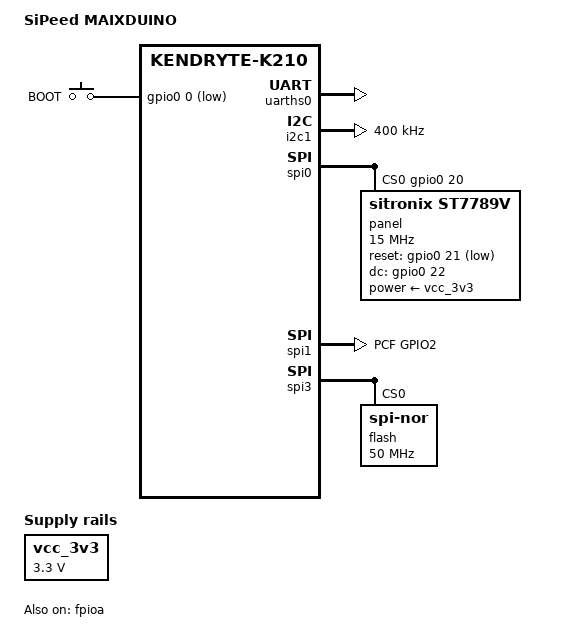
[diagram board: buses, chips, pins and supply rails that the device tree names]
// SPDX-License-Identifier: GPL-2.0+
/*
 * Copyright (C) 2019-20 Sean Anderson <seanga2@gmail.com>
 * Copyright (C) 2020 Western Digital Corporation or its affiliates.
 */

/dts-v1/;

#include "k210.dtsi"

#include <dt-bindings/gpio/gpio.h>
#include <dt-bindings/input/input.h>

/ {
	model = "SiPeed MAIXDUINO";
	compatible = "sipeed,maixduino", "canaan,kendryte-k210";

	chosen {
		bootargs = "earlycon console=ttySIF0";
		stdout-path = "serial0:115200n8";
	};

	gpio-keys {
		compatible = "gpio-keys";

		boot {
			label = "BOOT";
			linux,code = <BTN_0>;
			gpios = <&gpio0 0 GPIO_ACTIVE_LOW>;
		};
	};

	vcc_3v3: regulator-3v3 {
		compatible = "regulator-fixed";
		regulator-name = "3v3";
		regulator-min-microvolt = <3300000>;
		regulator-max-microvolt = <3300000>;
	};
};

&fpioa {
	status = "okay";

	uarths_pinctrl: uarths-pinmux {
		pinmux = <K210_FPIOA(4, K210_PCF_UARTHS_RX)>, /* Header "0" */
			 <K210_FPIOA(5, K210_PCF_UARTHS_TX)>; /* Header "1" */
	};

	gpio_pinctrl: gpio-pinmux {
		pinmux = <K210_FPIOA(8, K210_PCF_GPIO0)>,
			 <K210_FPIOA(9, K210_PCF_GPIO1)>;
	};

	gpiohs_pinctrl: gpiohs-pinmux {
		pinmux = <K210_FPIOA(16, K210_PCF_GPIOHS0)>,  /* BOOT */
			 <K210_FPIOA(21, K210_PCF_GPIOHS2)>,  /* Header "2" */
			 <K210_FPIOA(22, K210_PCF_GPIOHS3)>,  /* Header "3" */
			 <K210_FPIOA(23, K210_PCF_GPIOHS4)>,  /* Header "4" */
			 <K210_FPIOA(24, K210_PCF_GPIOHS5)>,  /* Header "5" */
			 <K210_FPIOA(32, K210_PCF_GPIOHS6)>,  /* Header "6" */
			 <K210_FPIOA(15, K210_PCF_GPIOHS7)>,  /* Header "7" */
			 <K210_FPIOA(14, K210_PCF_GPIOHS8)>,  /* Header "8" */
			 <K210_FPIOA(13, K210_PCF_GPIOHS9)>,  /* Header "9" */
			 <K210_FPIOA(12, K210_PCF_GPIOHS10)>, /* Header "10" */
			 <K210_FPIOA(11, K210_PCF_GPIOHS11)>, /* Header "11" */
			 <K210_FPIOA(10, K210_PCF_GPIOHS12)>, /* Header "12" */
			 <K210_FPIOA(3,  K210_PCF_GPIOHS13)>; /* Header "13" */
	};

	i2s0_pinctrl: i2s0-pinmux {
		pinmux = <K210_FPIOA(18, K210_PCF_I2S0_SCLK)>,
			 <K210_FPIOA(19, K210_PCF_I2S0_WS)>,
			 <K210_FPIOA(20, K210_PCF_I2S0_IN_D0)>;
	};

	spi1_pinctrl: spi1-pinmux {
		pinmux = <K210_FPIOA(26, K210_PCF_SPI1_D1)>,
			 <K210_FPIOA(27, K210_PCF_SPI1_SCLK)>,
			 <K210_FPIOA(28, K210_PCF_SPI1_D0)>,
			 <K210_FPIOA(29, K210_PCF_GPIO2)>; /* cs */
	};

	i2c1_pinctrl: i2c1-pinmux {
		pinmux = <K210_FPIOA(30, K210_PCF_I2C1_SCLK)>, /* Header "scl" */
			 <K210_FPIOA(31, K210_PCF_I2C1_SDA)>;  /* Header "sda" */
	};

	i2s1_pinctrl: i2s1-pinmux {
		pinmux = <K210_FPIOA(33, K210_PCF_I2S1_WS)>,
			 <K210_FPIOA(34, K210_PCF_I2S1_IN_D0)>,
			 <K210_FPIOA(35, K210_PCF_I2S1_SCLK)>;
	};

	spi0_pinctrl: spi0-pinmux {
		pinmux = <K210_FPIOA(36, K210_PCF_GPIOHS20)>,  /* cs */
			 <K210_FPIOA(37, K210_PCF_GPIOHS21)>,  /* rst */
			 <K210_FPIOA(38, K210_PCF_GPIOHS22)>,  /* dc */
			 <K210_FPIOA(39, K210_PCF_SPI0_SCLK)>; /* wr */
	};

	dvp_pinctrl: dvp-pinmux {
		pinmux = <K210_FPIOA(40, K210_PCF_SCCB_SDA)>,
			 <K210_FPIOA(41, K210_PCF_SCCB_SCLK)>,
			 <K210_FPIOA(42, K210_PCF_DVP_RST)>,
			 <K210_FPIOA(43, K210_PCF_DVP_VSYNC)>,
			 <K210_FPIOA(44, K210_PCF_DVP_PWDN)>,
			 <K210_FPIOA(45, K210_PCF_DVP_HSYNC)>,
			 <K210_FPIOA(46, K210_PCF_DVP_XCLK)>,
			 <K210_FPIOA(47, K210_PCF_DVP_PCLK)>;
	};
};

&uarths0 {
	pinctrl-0 = <&uarths_pinctrl>;
	pinctrl-names = "default";
	status = "okay";
};

&gpio0 {
	pinctrl-0 = <&gpiohs_pinctrl>;
	pinctrl-names = "default";
	status = "okay";
};

&gpio1 {
	pinctrl-0 = <&gpio_pinctrl>;
	pinctrl-names = "default";
	status = "okay";
};

&i2s0 {
	#sound-dai-cells = <1>;
	pinctrl-0 = <&i2s0_pinctrl>;
	pinctrl-names = "default";
};

&i2c1 {
	pinctrl-0 = <&i2c1_pinctrl>;
	pinctrl-names = "default";
	clock-frequency = <400000>;
	status = "okay";
};

&spi0 {
	pinctrl-0 = <&spi0_pinctrl>;
	pinctrl-names = "default";
	num-cs = <1>;
	cs-gpios = <&gpio0 20 GPIO_ACTIVE_HIGH>;

	panel@0 {
		compatible = "sitronix,st7789v";
		reg = <0>;
		reset-gpios = <&gpio0 21 GPIO_ACTIVE_LOW>;
		dc-gpios = <&gpio0 22 0>;
		spi-max-frequency = <15000000>;
		power-supply = <&vcc_3v3>;
	};
};

&spi1 {
	pinctrl-0 = <&spi1_pinctrl>;
	pinctrl-names = "default";
	num-cs = <1>;
	cs-gpios = <&gpio1_0 2 GPIO_ACTIVE_LOW>;
	status = "okay";

	slot@0 {
		compatible = "mmc-spi-slot";
		reg = <0>;
		voltage-ranges = <3300 3300>;
		spi-max-frequency = <25000000>;
		broken-cd;
	};
};

&spi3 {
	flash@0 {
		compatible = "jedec,spi-nor";
		reg = <0>;
		spi-max-frequency = <50000000>;
		spi-tx-bus-width = <4>;
		spi-rx-bus-width = <4>;
		m25p,fast-read;
		broken-flash-reset;
	};
};
